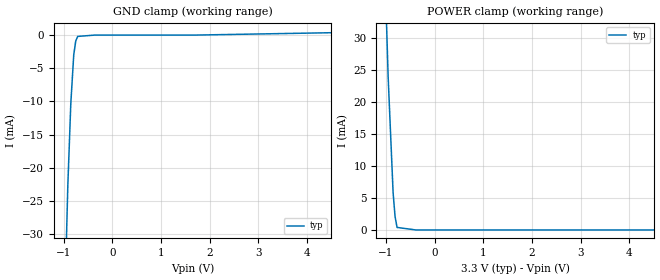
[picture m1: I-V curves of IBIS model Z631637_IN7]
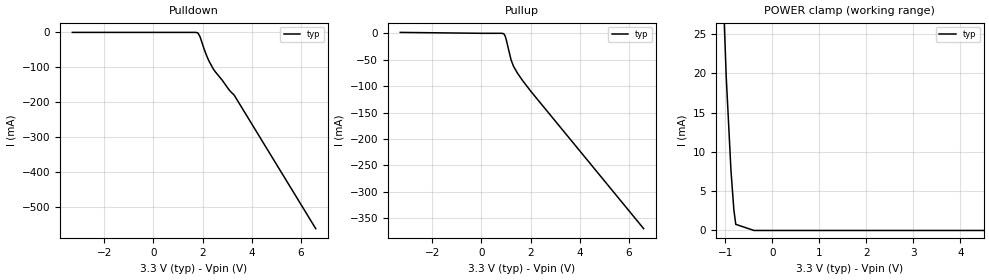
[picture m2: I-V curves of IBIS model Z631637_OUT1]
| YOU ARE ONLY AUTHORIZED TO USE THIS SOFTWARE
| ACCORDING TO LICENSOR'S LICENSE RESTRICTIONS.
[IBIS Ver] 3.1
[File Name] mc100ept22dt_33.ibs
[File Rev] 4
[Source] Derived from mc100ept22d, Measured and created
|   by ICX Technology
[Date] 2/23/2004
[Copyright]
| (C) COPYRIGHT 1993-2000
| MENTOR GRAPHICS CORPORATION
| ICX STANDARD LIBRARY, ICX PROJECT MODELING,
| ICX CUSTOM MODELING, ICX VENDOR MODEL
| ALL RIGHTS RESERVED.
| THE FOLLOWING ARE TRADEMARKS OR SERVICE MARKS OF
| MENTOR GRAPHICS CORPORATION:ICX (R), ICX STANDARD
| LIBRARY(R), ICX PROJECT MODELING(R), ICX CUSTOM
| MODELING(R), qualityIBIS(TM), MODELVIEWER(TM),
| AND MODELEDITOR(TM)
| ALL COPIES OF SOFTWARE, INCLUDING BUT NOT LIMITED TO
| ANY MODIFICATIONS, ENHANCEMENTS OR DERIVATIVE WORKS,
| MUST CONTAIN ALL MENTOR GRAPHICS CORPORATION'S
| NOTICES AND LEGENDS, INCLUDING THOSE EMBEDDED IN
| SOFTWARE AND THOSE AFFIXED TO SOFTWARE MEDIUM
| AND CONTAINER, AS RECEIVED FROM MENTOR GRAPHICS
| CORPORATION.
|  ZAP Model Builder 2.8
[Component] MC100EPT22DT_33
[Manufacturer] OnSemiconductor
[Package]
| variable   typ   min   max
R_pkg  .044ohms NA NA
L_pkg  1.82nH NA NA
C_pkg  .083pF NA NA
[Pin] signal_name  model_name  R_pin  L_pin C_pin
1 Q0 Z631637_OUT1 .044 1.802n .083p
2 _Q0 Z631637_OUT1 .044 1.802n .083p
3 Q1 Z631637_OUT1 .044 1.802n .083p
4 _Q1 Z631637_OUT1 .044 1.802n .083p
5 GND GND .044 1.802n .083p
6 D1 Z631637_IN7 .044 1.802n .083p
7 D0 Z631637_IN7 .044 1.802n .083p
8 VCC POWER .044 1.802n .083p
[Diff Pin] inv_pin vdiff tdelay_typ tdelay_min tdelay_max
1 2 NA NA NA NA
3 4 NA NA NA NA
| Models and submodels in the file (2): Z631637_IN7 (Input), Z631637_OUT1 (Output_ECL)
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| (C) COPYRIGHT 1993-2000
| MENTOR GRAPHICS CORPORATION
| ICX STANDARD LIBRARY, ICX PROJECT MODELING,
| ICX CUSTOM MODELING, ICX VENDOR MODEL
| ALL RIGHTS RESERVED.
| THE FOLLOWING ARE TRADEMARKS OR SERVICE MARKS OF
| MENTOR GRAPHICS CORPORATION:ICX (R), ICX STANDARD
| LIBRARY(R), ICX PROJECT MODELING(R), ICX CUSTOM
| MODELING(R), qualityIBIS(TM), MODELVIEWER(TM),
| AND MODELEDITOR(TM)
| ALL COPIES OF SOFTWARE, INCLUDING BUT NOT LIMITED TO
| ANY MODIFICATIONS, ENHANCEMENTS OR DERIVATIVE WORKS,
| MUST CONTAIN ALL MENTOR GRAPHICS CORPORATION'S
| NOTICES AND LEGENDS, INCLUDING THOSE EMBEDDED IN
| SOFTWARE AND THOSE AFFIXED TO SOFTWARE MEDIUM
| AND CONTAINER, AS RECEIVED FROM MENTOR GRAPHICS
| CORPORATION.
| Model Application Version 1.89 2/18/99.
[Model] Z631637_IN7
Model_type Input
Vinl = 800.0mV
Vinh = 2.000V
C_comp 2.00pF NA NA
| variable typ   min   max
[Voltage Range] 3.300V NA NA
[GND Clamp Reference] 0.000V NA NA
[POWER Clamp Reference] 3.300V NA NA
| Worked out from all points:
|   GND clamp passes 1 mA (typ) near -0.75 V on its own axis
|   POWER clamp passes 1 mA (typ) near -0.79 V on its own axis
[GND Clamp]
-3.3V     -694.1mA   NA         NA
-912mV    -22.6mA    NA         NA
-851mV    -10.3mA    NA         NA
-791mV    -3mA       NA         NA
-750mV    -900uA     NA         NA
-709mV    -200uA     NA         NA
-354.5mV  0A         NA         NA
1.703V    0A         NA         NA
6.6V      624.9uA    NA         NA
[POWER Clamp]
-3.3V     718.3mA    NA         NA
-1.058V   49.16mA    NA         NA
-957mV    23.87mA    NA         NA
-855mV    5.787mA    NA         NA
-815mV    2.092mA    NA         NA
-774mV    397.4uA    NA         NA
-387mV    0A         NA         NA
6.6V      0A         NA         NA
| (C) COPYRIGHT 1993-2000
| MENTOR GRAPHICS CORPORATION
| ICX STANDARD LIBRARY, ICX PROJECT MODELING,
| ICX CUSTOM MODELING, ICX VENDOR MODEL
| ALL RIGHTS RESERVED.
| THE FOLLOWING ARE TRADEMARKS OR SERVICE MARKS OF
| MENTOR GRAPHICS CORPORATION:ICX (R), ICX STANDARD
| LIBRARY(R), ICX PROJECT MODELING(R), ICX CUSTOM
| MODELING(R), qualityIBIS(TM), MODELVIEWER(TM),
| AND MODELEDITOR(TM)
| ALL COPIES OF SOFTWARE, INCLUDING BUT NOT LIMITED TO
| ANY MODIFICATIONS, ENHANCEMENTS OR DERIVATIVE WORKS,
| MUST CONTAIN ALL MENTOR GRAPHICS CORPORATION'S
| NOTICES AND LEGENDS, INCLUDING THOSE EMBEDDED IN
| SOFTWARE AND THOSE AFFIXED TO SOFTWARE MEDIUM
| AND CONTAINER, AS RECEIVED FROM MENTOR GRAPHICS
| CORPORATION.
| Model Application Version 1.89 2/18/99.
[Model] Z631637_OUT1
Model_type Output_ECL
Vref=1.300V
Rref=50.00ohms
Cref=0.000F
Vmeas=1.850V
C_comp 2.00pF NA NA
| variable typ   min   max
[Voltage Range] 3.300V NA NA
[POWER Clamp Reference] 3.300V NA NA
[Pullup Reference] 3.300V NA NA
[Pulldown Reference] 3.300V NA NA
[GND Clamp Reference] 0.000V NA NA
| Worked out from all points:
|   POWER clamp passes 1 mA (typ) near -0.78 V on its own axis
[GND Clamp]
-3.3V     0A         NA         NA
6.6V      0A         NA         NA
[Pulldown]
-3.3V     0A         NA         NA
1.8V      -1.6mA     NA         NA
1.902V    -13.9mA    NA         NA
2.064V    -48.6mA    NA         NA
2.185V    -70.4mA    NA         NA
2.429V    -103.9mA   NA         NA
3.057V    -162.4mA   NA         NA
3.28V     -178.9mA   NA         NA
6.6V      -560.7mA   NA         NA
[Pullup]
-3.3V     1.73mA     NA         NA
802mV     0A         NA         NA
924mV     -1.6mA     NA         NA
964mV     -4.8mA     NA         NA
1.005V    -11mA      NA         NA
1.207V    -50.3mA    NA         NA
1.309V    -62.7mA    NA         NA
1.471V    -75.7mA    NA         NA
1.673V    -89.3mA    NA         NA
2.018V    -110.2mA   NA         NA
6.6V      -370mA     NA         NA
[POWER Clamp]
-3.3V     400.9mA    NA         NA
-982mV    19.57mA    NA         NA
-881mV    7.626mA    NA         NA
-820mV    2.658mA    NA         NA
-779mV    779.2uA    NA         NA
-389.5mV  0A         NA         NA
6.6V      0A         NA         NA
[Ramp]
| variable typ min max
dV/dt_r 398.1m/123.0p NA NA
dV/dt_f 398.1m/111.7p NA NA
R_load = 50.00Ohms
